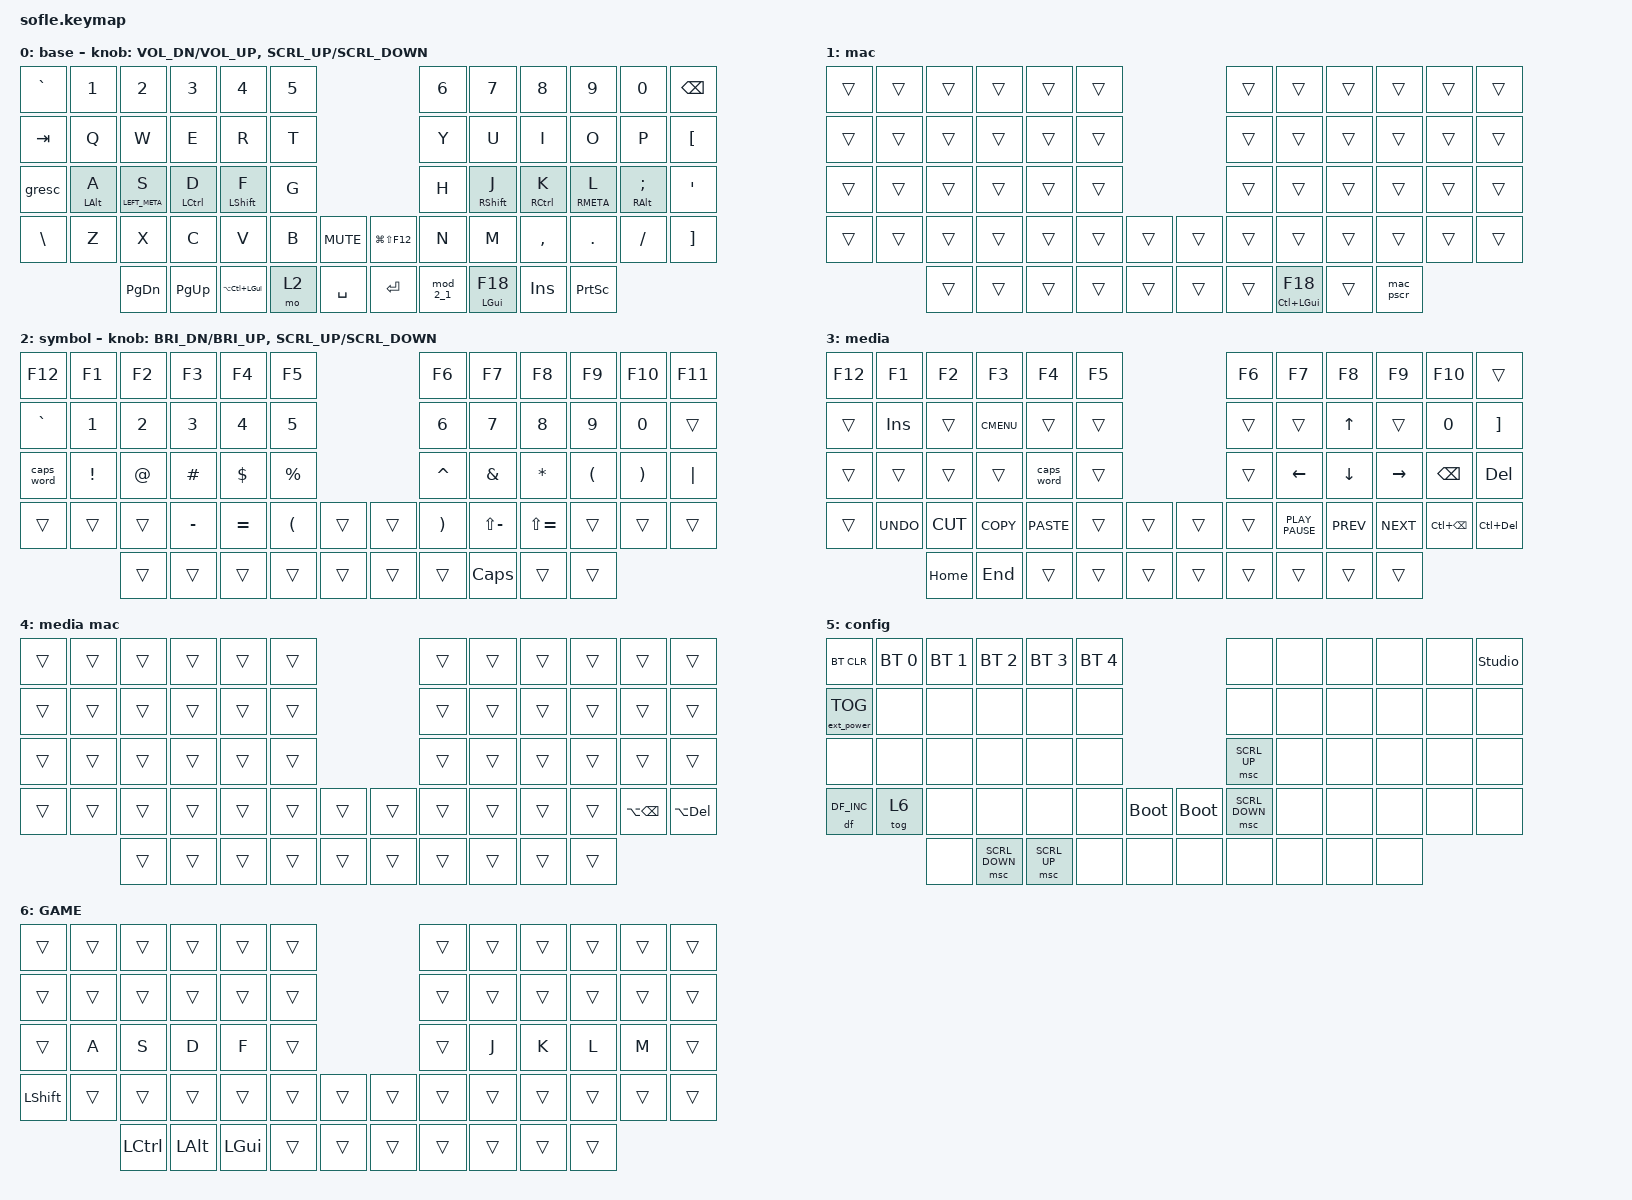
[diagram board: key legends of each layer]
/*
 * Copyright (c) 2020 The ZMK Contributors
 *
 * SPDX-License-Identifier: MIT
 */

#include <behaviors.dtsi>
#include <behaviors/default_layer.dtsi>
#include <dt-bindings/zmk/bt.h>
#include <dt-bindings/zmk/ext_power.h>
#include <dt-bindings/zmk/keys.h>
#include <dt-bindings/zmk/pointing.h>
#include <dt-bindings/zmk_behavior_default_layer/default_layer.h>

#define BASE 0
#define LOWER 1
#define RAISE 2
#define ADJUST 3
#define ZMK_MOUSE_DEFAULT_SCRL_VAL 150

&gresc {
    bindings = <&kp ESC>, <&kp CAPSLOCK>;
};

&nice_view_spi { cs-gpios = <&pro_micro 0 GPIO_ACTIVE_HIGH>; };

&caps_word { continue-list = <UNDERSCORE BACKSPACE DELETE COMMA DOT SEMICOLON COLON GREATER_THAN LESS_THAN>; };

/ {
    sensors {
        compatible = "zmk,keymap-sensors";
        sensors = <&left_encoder &right_encoder>;
        triggers-per-rotation = <20>;
    };

    left_encoder { steps = <80>; };

    right_encoder { steps = <80>; };

    // Activate ADJUST layer by pressing raise and lower

    conditional_layers {
        compatible = "zmk,conditional-layers";

        adjust_layer {
            if-layers = <2 3>;
            then-layer = <5>;
        };

        raise_macos {
            if-layers = <1 3>;
            then-layer = <4>;
        };
    };

    combos {
        compatible = "zmk,combos";

        em_email {
            bindings = <&email_dvorak>;
            key-positions = <45 27>;
            layers = <2>;
        };
    };

    macros {
        email_dvorak: email_dvorak {
            compatible = "zmk,behavior-macro";
            #binding-cells = <0>;
            bindings = <&kp R &kp P &kp S &kp K &kp L &kp G &kp V &kp S &kp DOT &kp A &kp L &kp K &kp S &kp L &kp AT &kp U &kp M &kp A &kp G &kp P &kp E &kp I &kp S &kp M>;
            label = "EMAIL_DVORAK";
            tap-ms = <3>;
        };
    };

    behaviors {
        mod_2_1: mod_2_1 {
            compatible = "zmk,behavior-tap-dance";
            label = "MOD_2_1";
            #binding-cells = <0>;
            tapping-term-ms = <20>;
            bindings = <&mo 3>, <&mo 2>;
        };

        mod2_f18: mod2_f18 {
            compatible = "zmk,behavior-hold-tap";
            #binding-cells = <2>;
            tapping-term-ms = <200>;
            flavor = "hold-preferred";
            bindings = <&kp>, <&kp>;
        };

        // Alt+PSCR на маке — скриншот окна, как Alt+Print в niri. Alt маскируется,
        // Ctrl+Shift+Cmd+7 ловит Hammerspoon (nixos-config-flake, hammerspoon/wm.nix).
        mac_pscr: mac_pscr {
            compatible = "zmk,behavior-mod-morph";
            #binding-cells = <0>;
            bindings = <&kp LC(LS(LG(NUMBER_4)))>, <&kp LC(LS(LG(NUMBER_7)))>;
            mods = <(MOD_LALT|MOD_RALT)>;
        };

        msc {
            acceleration-exponent = <1>;      // 
            time-to-max-speed-ms = <400>;      // 500
            delay-ms = <0>;                   //   10
        };

        hm: homerow_mods {
            compatible = "zmk,behavior-hold-tap";
            #binding-cells = <2>;
            tapping-term-ms = <200>;
            quick-tap-ms = <200>;
            flavor = "balanced";
            bindings = <&kp>, <&kp>;

            require-prior-idle-ms = <125>;
        };

        inc_dec_msc: sensor_rotation_scroll {
            compatible = "zmk,behavior-sensor-rotate-var";
            #sensor-binding-cells = <2>;
            bindings = <&msc>, <&msc>;

            tap-ms = <70>;
            label = "inc_dec_msc";
        };
    };

    keymap {
        compatible = "zmk,keymap";

        default {
            label = "base";

            // ------------------------------------------------------------------------------------------------------------
            // |   `   |  1  |  2  |  3   |  4   |  5   |                   |  6   |  7    |  8    |  9   |   0   |       |
            // |  ESC  |  Q  |  W  |  E   |  R   |  T   |                   |  Y   |  U    |  I    |  O   |   P   | BKSPC |
            // |  TAB  |  A  |  S  |  D   |  F   |  G   |                   |  H   |  J    |  K    |  L   |   ;   |   '   |
            // | SHIFT |  Z  |  X  |  C   |  V   |  B   |  MUTE  |  |       |  N   |  M    |  ,    |  .   |   /   | SHIFT |
            //               | PGDN| PGUP | MOD1 | LOWER| SPACE  |  | ENTER | RAISE| MOD2  | INS   | PSCR |
            //
            // MOD1 = Ctrl+Alt+Gui, MOD2 = Gui (niri), в слое macos — Ctrl+Gui
            // (OmniWM). По одному WM-модификатору под каждый большой палец.
            //
            // F18 — переключение раскладки, тап MOD2 (зажатие — MOD2): на маке его
            // ловит symbolichotkey 60, на omen-14 niri вешает на ту же клавишу
            // xkb-smart-switch. Так же устроен zmk-corne. На встроенных клавиатурах
            // мака и omen-14 F18 остался отдельной клавишей слева от Mod1.
            //
            // Shift в MOD1 не входит намеренно: он остаётся свободным и даёт
            // второй уровень грамматики («возьми окно с собой»).
            //
            // Свап lmet<->lctl в sofle.kbd обеим маскам безразличен: ctrl и gui
            // входят в каждую, поменять их местами — то же самое множество.

            bindings = <
&kp GRAVE      &kp N1          &kp N2           &kp N3              &kp N4                 &kp N5                                 &kp N6    &kp N7         &kp N8       &kp N9           &kp N0         &kp BSPC
&kp TAB        &kp Q           &kp W            &kp E               &kp R                  &kp T                                  &kp Y     &kp U          &kp I        &kp O            &kp P          &kp LBKT
&gresc         &hm LEFT_ALT A  &hm LEFT_META S  &hm LEFT_CONTROL D  &hm LEFT_SHIFT F       &kp G                                  &kp H     &hm RSHFT J    &hm RCTRL K  &hm RMETA L      &hm RALT SEMI  &kp SQT
&kp BACKSLASH  &kp Z           &kp X            &kp C               &kp V                  &kp B   &kp C_MUTE    &kp LG(LS(F12))  &kp N     &kp M          &kp COMMA    &kp DOT          &kp FSLH       &kp RIGHT_BRACKET
                               &kp PAGE_DOWN    &kp PAGE_UP         &kp LA(LC(LGUI))       &mo 2   &kp SPACE     &kp ENTER        &mod_2_1  &mod2_f18 LGUI F18  &kp INSERT   &kp PRINTSCREEN
            >;

            sensor-bindings =
                <&inc_dec_kp C_VOL_DN C_VOL_UP>,
                <&inc_dec_msc SCRL_UP SCRL_DOWN>;
        };

        macos {
            bindings = <
&trans  &trans  &trans  &trans  &trans  &trans                    &trans  &trans   &trans  &trans                    &trans  &trans
&trans  &trans  &trans  &trans  &trans  &trans                    &trans  &trans   &trans  &trans                    &trans  &trans
&trans  &trans  &trans  &trans  &trans  &trans                    &trans  &trans   &trans  &trans                    &trans  &trans
&trans  &trans  &trans  &trans  &trans  &trans  &trans    &trans  &trans  &trans   &trans  &trans                    &trans  &trans
                &trans  &trans  &trans  &trans  &trans    &trans  &trans  &mod2_f18 LC(LGUI) F18  &trans  &mac_pscr
            >;

            label = "mac";
        };

        lower {
            label = "symbol";

            // TODO: Some binds are waiting for shifted keycode support.
            // ------------------------------------------------------------------------------------------------------------
            // |       |  F1 |  F2 |  F3  |  F4  |  F5  |                   |  F6  |  F7   |  F8   |  F9  |  F10  |  F11  |
            // |   `   |  1  |  2  |  3   |  4   |  5   |                   |  6   |  7    |  8    |  9   |   0   |  F12  |
            // |       |  !  |  @  |  #   |  $   |  %   |                   |  ^   |  &    |  *    |  (   |   )   |   |   |
            // |       |  =  |  -  |  +   |  {   |  }   |        |  |       |  [   |  ]    |  (    |  )   |       |       |
            //               |     |      |      |      |        |  |       |      |       |       |      |

            bindings = <
&kp F12     &kp F1    &kp F2  &kp F3     &kp F4     &kp F5                                  &kp F6                 &kp F7         &kp F8         &kp F9    &kp F10   &kp F11
&kp GRAVE   &kp N1    &kp N2  &kp N3     &kp N4     &kp N5                                  &kp N6                 &kp N7         &kp N8         &kp N9    &kp N0    &trans
&caps_word  &kp EXCL  &kp AT  &kp HASH   &kp DLLR   &kp PRCNT                               &kp CARET              &kp AMPS       &kp ASTERISK   &kp LPAR  &kp RPAR  &kp PIPE
&trans      &trans    &trans  &kp MINUS  &kp EQUAL  &kp LEFT_PARENTHESIS  &trans    &trans  &kp RIGHT_PARENTHESIS  &kp LS(MINUS)  &kp LS(EQUAL)  &trans    &trans    &trans
                      &trans  &trans     &trans     &trans                &trans    &trans  &trans                 &kp CAPSLOCK   &trans         &trans
            >;

            sensor-bindings =
                <&inc_dec_kp C_BRI_DN C_BRI_UP>,
                <&inc_dec_msc SCRL_UP SCRL_DOWN>;
        };

        raise {
            label = "media";

            // ------------------------------------------------------------------------------------------------------------
            // | BTCLR | BT1  | BT2  |  BT3  |  BT4  |  BT5 |                |      |      |       |      |       |       |
            // |       | INS  | PSCR | GUI   |       |      |                | PGUP |      |   ^   |      |       |       |
            // |       | ALT  | CTRL | SHIFT |       | CAPS |                | PGDN |   <- |   v   |  ->  |  DEL  | BKSPC |
            // |       | UNDO | CUT  | COPY  | PASTE |      |      |  |      |      |      |       |      |       |       |
            //                |      |       |       |      |      |  |      |      |      |       |      |

            bindings = <
&kp F12  &kp F1      &kp F2     &kp F3       &kp F4       &kp F5                    &kp F6  &kp F7            &kp F8      &kp F9      &kp F10            &trans
&trans   &kp INS     &trans     &kp K_CMENU  &trans       &trans                    &trans  &trans            &kp UP      &trans      &kp N0             &kp RBKT
&trans   &trans      &trans     &trans       &caps_word   &trans                    &trans  &kp LEFT          &kp DOWN    &kp RIGHT   &kp BSPC           &kp DEL
&trans   &kp K_UNDO  &kp K_CUT  &kp K_COPY   &kp K_PASTE  &trans  &trans    &trans  &trans  &kp K_PLAY_PAUSE  &kp K_PREV  &kp K_NEXT  &kp LC(BACKSPACE)  &kp LC(DELETE)
                     &kp HOME   &kp END      &trans       &trans  &trans    &trans  &trans  &trans            &trans      &trans
            >;
        };

        raise_macos {
            bindings = <
&trans  &trans  &trans  &trans  &trans  &trans                    &trans  &trans  &trans  &trans  &trans             &trans
&trans  &trans  &trans  &trans  &trans  &trans                    &trans  &trans  &trans  &trans  &trans             &trans
&trans  &trans  &trans  &trans  &trans  &trans                    &trans  &trans  &trans  &trans  &trans             &trans
&trans  &trans  &trans  &trans  &trans  &trans  &trans    &trans  &trans  &trans  &trans  &trans  &kp LA(BACKSPACE)  &kp LA(DELETE)
                &trans  &trans  &trans  &trans  &trans    &trans  &trans  &trans  &trans  &trans
            >;

            label = "media mac";
        };

        adjust {
            // ----------------------------------------------------------------------------------------------------------------------------
            // | BTCLR  |  BT1    |  BT2    |   BT3   |   BT4   |   BT5   |                  |      |      |       |      |       |       |
            // | EXTPWR | RGB_HUD | RGB_HUI | RGB_SAD | RGB_SAI | RGB_EFF |                  |      |      |       |      |       |       |
            // |        | RGB_BRD | RGB_BRI |         |         |         |                  |      |      |       |      |       |       |
            // |        |         |         |         |         |         | RGB_TOG | |      |      |      |       |      |       |       |
            //                    |         |         |         |         |         | |      |      |      |       |      |

            label = "config";
            bindings = <
&bt BT_CLR         &bt BT_SEL 0  &bt BT_SEL 1  &bt BT_SEL 2    &bt BT_SEL 3  &bt BT_SEL 4                              &none           &none  &none  &none  &none  &studio_unlock
&ext_power EP_TOG  &none         &none         &none           &none         &none                                     &none           &none  &none  &none  &none  &none
&none              &none         &none         &none           &none         &none                                     &msc SCRL_UP    &none  &none  &none  &none  &none
&df DF_INC         &tog 6        &none         &none           &none         &none         &bootloader    &bootloader  &msc SCRL_DOWN  &none  &none  &none  &none  &none
                                 &none         &msc SCRL_DOWN  &msc SCRL_UP  &none         &none          &none        &none           &none  &none  &none
            >;
        };

        gaming {
            bindings = <
&trans          &trans  &trans            &trans    &trans    &trans                    &trans  &trans  &trans  &trans  &trans  &trans
&trans          &trans  &trans            &trans    &trans    &trans                    &trans  &trans  &trans  &trans  &trans  &trans
&trans          &kp A   &kp S             &kp D     &kp F     &trans                    &trans  &kp J   &kp K   &kp L   &kp M   &trans
&kp LEFT_SHIFT  &trans  &trans            &trans    &trans    &trans  &trans    &trans  &trans  &trans  &trans  &trans  &trans  &trans
                        &kp LEFT_CONTROL  &kp LALT  &kp LGUI  &trans  &trans    &trans  &trans  &trans  &trans  &trans
            >;

            label = "GAME";
        };
    };
};
